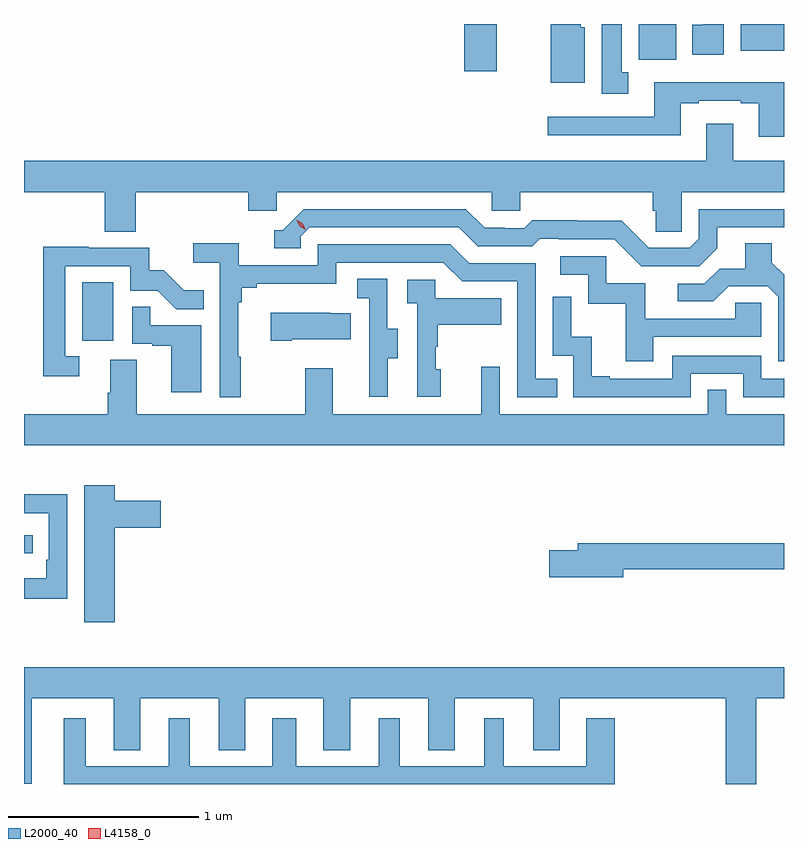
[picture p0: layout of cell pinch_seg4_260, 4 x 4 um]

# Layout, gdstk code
import gdstk
lib = gdstk.Library(unit=1e-6, precision=1e-09)
def R(c, l, rs):  # rectangles x0, y0, x1, y1
    for r in rs: c.add(gdstk.rectangle(r[:2], r[2:], *l))
def P(c, l, *ps):  # polygons
    for p in ps: c.add(gdstk.Polygon(p, *l))
L2000_40 = (2000, 40)
L4158_0 = (4158, 0)

pinch_seg4_260 = lib.new_cell('pinch_seg4_260')
R(pinch_seg4_260, L2000_40, [(945.121,826.887,945.166,826.983), (945.428,828.006,945.592,828.313), (947.438,829.425,947.608,829.673), (948.356,829.484,948.553,829.673), (948.893,829.532,949.121,829.673)])
P(pinch_seg4_260, L2000_40, [(948.805,829.673),(948.695,829.673),(948.695,829.668),(948.638,829.668),(948.638,829.512),(948.805,829.512)],
  [(948.073,829.656),(948.052,829.656),(948.052,829.673),(947.894,829.673),(947.894,829.364),(948.073,829.364)],
  [(948.301,829.418),(948.268,829.418),(948.268,829.673),(948.161,829.673),(948.161,829.305),(948.301,829.305)],
  [(949.121,829.366),(948.437,829.366),(948.437,829.185),(947.877,829.185),(947.877,829.088),(948.577,829.088),(948.577,829.257),(948.673,829.257),(948.673,829.269),(948.893,829.269),(948.893,829.257),(948.989,829.257),(948.989,829.08),(949.121,829.08)],
  [(945.71,828.788),(946.301,828.788),(946.301,828.69),(946.452,828.69),(946.452,828.788),(947.583,828.788),(947.583,828.69),(947.733,828.69),(947.733,828.788),(948.431,828.788),(948.431,828.69),(948.445,828.69),(948.445,828.58),(948.582,828.58),(948.582,828.788),(949.121,828.788),(949.121,828.952),(948.853,828.952),(948.853,829.147),(948.713,829.147),(948.713,828.952),(945.121,828.952),(945.121,828.788),(945.545,828.788),(945.545,828.58),(945.71,828.58)],
  [(948.769,828.493),(948.769,828.603),(949.121,828.603),(949.121,828.699),(948.672,828.699),(948.672,828.543),(948.624,828.495),(948.408,828.495),(948.266,828.637),(948.03,828.637),(948.03,828.64),(947.797,828.64),(947.755,828.597),(947.652,828.597),(947.652,828.6),(947.545,828.6),(947.446,828.699),(946.593,828.699),(946.482,828.588),(946.439,828.588),(946.439,828.492),(946.578,828.492),(946.578,828.555),(946.626,828.603),(947.409,828.603),(947.508,828.504),(947.797,828.504),(947.836,828.543),(947.935,828.543),(947.935,828.54),(948.228,828.54),(948.369,828.399),(948.675,828.399)],
  [(949.121,828.352),(949.057,828.416),(949.057,828.518),(948.917,828.518),(948.917,828.386),(948.782,828.386),(948.702,828.306),(948.561,828.306),(948.561,828.213),(948.748,828.213),(948.829,828.294),(949.035,828.294),(949.092,828.237),(949.092,827.898),(949.121,827.898)],
  [(946.261,827.921),(946.249,827.921),(946.249,828.209),(946.268,828.209),(946.268,828.286),(946.345,828.286),(946.345,828.305),(946.764,828.305),(946.764,828.417),(947.328,828.417),(947.427,828.318),(947.718,828.318),(947.718,827.709),(947.927,827.709),(947.927,827.805),(947.814,827.805),(947.814,828.414),(947.464,828.414),(947.365,828.513),(946.668,828.513),(946.668,828.402),(946.25,828.402),(946.25,828.518),(946.011,828.518),(946.011,828.416),(946.152,828.416),(946.152,827.709),(946.261,827.709)],
  [(945.412,827.925),(945.339,827.925),(945.339,828.399),(945.681,828.399),(945.681,828.27),(945.825,828.27),(945.923,828.172),(946.067,828.172),(946.067,828.271),(945.963,828.271),(945.856,828.378),(945.78,828.378),(945.78,828.495),(945.461,828.495),(945.461,828.5),(945.223,828.5),(945.223,827.82),(945.412,827.82)],
  [(948.433,828.027),(949.002,828.027),(949.002,828.207),(948.865,828.207),(948.865,828.123),(948.391,828.123),(948.391,828.309),(948.186,828.309),(948.186,828.45),(947.943,828.45),(947.943,828.354),(948.09,828.354),(948.09,828.201),(948.289,828.201),(948.289,827.898),(948.433,827.898)],
  [(947.035,827.914),(947.089,827.914),(947.089,828.069),(947.034,828.069),(947.034,828.332),(946.875,828.332),(946.875,828.229),(946.938,828.229),(946.938,827.925),(946.937,827.925),(946.937,827.712),(947.035,827.712)],
  [(947.314,827.856),(947.289,827.856),(947.289,827.975),(947.299,827.975),(947.299,828.089),(947.633,828.089),(947.633,828.229),(947.286,828.229),(947.286,828.327),(947.139,828.327),(947.139,828.203),(947.19,828.203),(947.19,827.712),(947.314,827.712)],
  [(948.63,827.832),(948.906,827.832),(948.906,827.709),(949.121,827.709),(949.121,827.805),(949.002,827.805),(949.002,827.928),(948.534,827.928),(948.534,827.805),(948.205,827.805),(948.205,827.818),(948.11,827.818),(948.11,828.026),(948,828.026),(948,828.238),(947.904,828.238),(947.904,827.928),(948.012,827.928),(948.012,827.709),(948.63,827.709)],
  [(946.054,828.087),(945.785,828.087),(945.785,828.185),(945.69,828.185),(945.69,827.991),(945.797,827.991),(945.797,827.979),(945.896,827.979),(945.896,827.736),(946.054,827.736)],
  [(946.531,828.014),(946.841,828.014),(946.841,828.151),(946.733,828.151),(946.733,828.154),(946.419,828.154),(946.419,828.007),(946.531,828.007)],
  [(949.121,827.62),(948.816,827.62),(948.816,827.747),(948.72,827.747),(948.72,827.62),(947.625,827.62),(947.625,827.869),(947.528,827.869),(947.528,827.62),(946.747,827.62),(946.747,827.86),(946.6,827.86),(946.6,827.62),(945.715,827.62),(945.715,827.906),(945.575,827.906),(945.575,827.732),(945.563,827.732),(945.563,827.62),(945.121,827.62),(945.121,827.456),(949.121,827.456)],
  [(945.598,827.021),(945.841,827.021),(945.841,827.163),(945.598,827.163),(945.598,827.245),(945.437,827.245),(945.437,826.524),(945.598,826.524)],
  [(945.348,827.198),(945.121,827.198),(945.121,827.097),(945.252,827.097),(945.252,826.852),(945.239,826.852),(945.239,826.756),(945.121,826.756),(945.121,826.647),(945.348,826.647)],
  [(948.274,826.804),(949.121,826.804),(949.121,826.94),(948.035,826.94),(948.035,826.904),(947.886,826.904),(947.886,826.762),(948.274,826.762)],
  [(948.975,826.124),(949.121,826.124),(949.121,826.288),(945.121,826.288),(945.121,825.675),(945.163,825.675),(945.163,826.124),(945.593,826.124),(945.593,825.851),(945.733,825.851),(945.733,826.124),(946.145,826.124),(946.145,825.851),(946.285,825.851),(946.285,826.124),(946.697,826.124),(946.697,825.851),(946.837,825.851),(946.837,826.124),(947.249,826.124),(947.249,825.851),(947.389,825.851),(947.389,826.124),(947.801,826.124),(947.801,825.851),(947.941,825.851),(947.941,826.124),(948.815,826.124),(948.815,825.673),(948.975,825.673)],
  [(948.23,826.018),(948.08,826.018),(948.08,825.766),(947.647,825.766),(947.647,826.018),(947.543,826.018),(947.543,825.766),(947.098,825.766),(947.098,826.018),(946.988,826.018),(946.988,825.766),(946.555,825.766),(946.555,826.018),(946.427,826.018),(946.427,825.766),(945.994,825.766),(945.994,826.018),(945.884,826.018),(945.884,825.766),(945.445,825.766),(945.445,826.018),(945.329,826.018),(945.329,825.673),(948.23,825.673)])
P(pinch_seg4_260, L4158_0, [(946.603,828.59),(946.572,828.609),(946.556,828.642),(946.556,828.642),(946.556,828.642),(946.587,828.623),(946.603,828.59),(946.603,828.59)])

lib.write_gds('pinch_seg4_260.gds')
